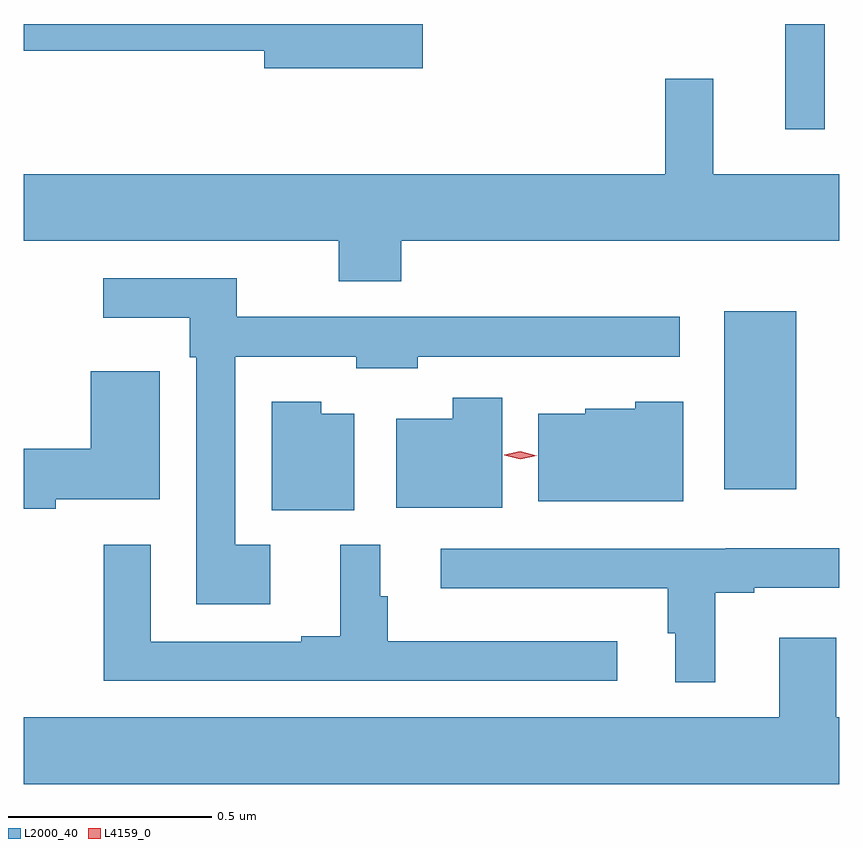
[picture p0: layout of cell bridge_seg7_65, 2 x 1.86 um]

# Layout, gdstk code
import gdstk
lib = gdstk.Library(unit=1e-6, precision=1e-09)
def R(c, l, rs):  # rectangles x0, y0, x1, y1
    for r in rs: c.add(gdstk.rectangle(r[:2], r[2:], *l))
def P(c, l, *ps):  # polygons
    for p in ps: c.add(gdstk.Polygon(p, *l))
L2000_40 = (2000, 40)
L4159_0 = (4159, 0)

bridge_seg7_65 = lib.new_cell('bridge_seg7_65')
R(bridge_seg7_65, L2000_40, [(942.362,1010.663,942.538,1011.1), (942.512,1011.546,942.609,1011.804)])
P(bridge_seg7_65, L2000_40, [(941.623,1011.804),(940.644,1011.804),(940.644,1011.738),(941.234,1011.738),(941.234,1011.695),(941.623,1011.695)],
  [(941.57,1011.272),(942.644,1011.272),(942.644,1011.436),(942.335,1011.436),(942.335,1011.67),(942.217,1011.67),(942.217,1011.436),(940.644,1011.436),(940.644,1011.272),(941.417,1011.272),(941.417,1011.173),(941.57,1011.173)],
  [(941.248,1010.527),(941.163,1010.527),(941.163,1010.988),(941.46,1010.988),(941.46,1010.96),(941.61,1010.96),(941.61,1010.988),(942.253,1010.988),(942.253,1011.086),(941.166,1011.086),(941.166,1011.18),(940.839,1011.18),(940.839,1011.083),(941.051,1011.083),(941.051,1010.987),(941.067,1010.987),(941.067,1010.381),(941.248,1010.381)],
  [(940.722,1010.639),(940.978,1010.639),(940.978,1010.849),(940.977,1010.849),(940.977,1010.952),(940.808,1010.952),(940.808,1010.762),(940.644,1010.762),(940.644,1010.615),(940.722,1010.615)],
  [(941.818,1010.887),(941.696,1010.887),(941.696,1010.836),(941.558,1010.836),(941.558,1010.618),(941.818,1010.618)],
  [(941.455,1010.848),(941.374,1010.848),(941.374,1010.878),(941.252,1010.878),(941.252,1010.612),(941.455,1010.612)],
  [(942.262,1010.878),(942.144,1010.878),(942.144,1010.86),(942.021,1010.86),(942.021,1010.848),(941.906,1010.848),(941.906,1010.633),(942.262,1010.633)],
  [(942.1,1010.29),(941.537,1010.29),(941.537,1010.4),(941.518,1010.4),(941.518,1010.527),(941.42,1010.527),(941.42,1010.302),(941.324,1010.302),(941.324,1010.289),(940.956,1010.289),(940.956,1010.527),(940.84,1010.527),(940.84,1010.193),(942.1,1010.193)],
  [(942.34,1010.409),(942.436,1010.409),(942.436,1010.421),(942.644,1010.421),(942.644,1010.518),(942.366,1010.518),(942.366,1010.517),(941.667,1010.517),(941.667,1010.42),(942.223,1010.42),(942.223,1010.31),(942.242,1010.31),(942.242,1010.189),(942.34,1010.189)],
  [(942.644,1010.104),(942.637,1010.104),(942.637,1010.299),(942.497,1010.299),(942.497,1010.104),(940.644,1010.104),(940.644,1009.94),(942.644,1009.94)])
P(bridge_seg7_65, L4159_0, [(941.862,1010.736),(941.822,1010.746),(941.822,1010.747),(941.822,1010.747),(941.862,1010.756),(941.902,1010.745),(941.902,1010.745),(941.902,1010.745)])

lib.write_gds('bridge_seg7_65.gds')
